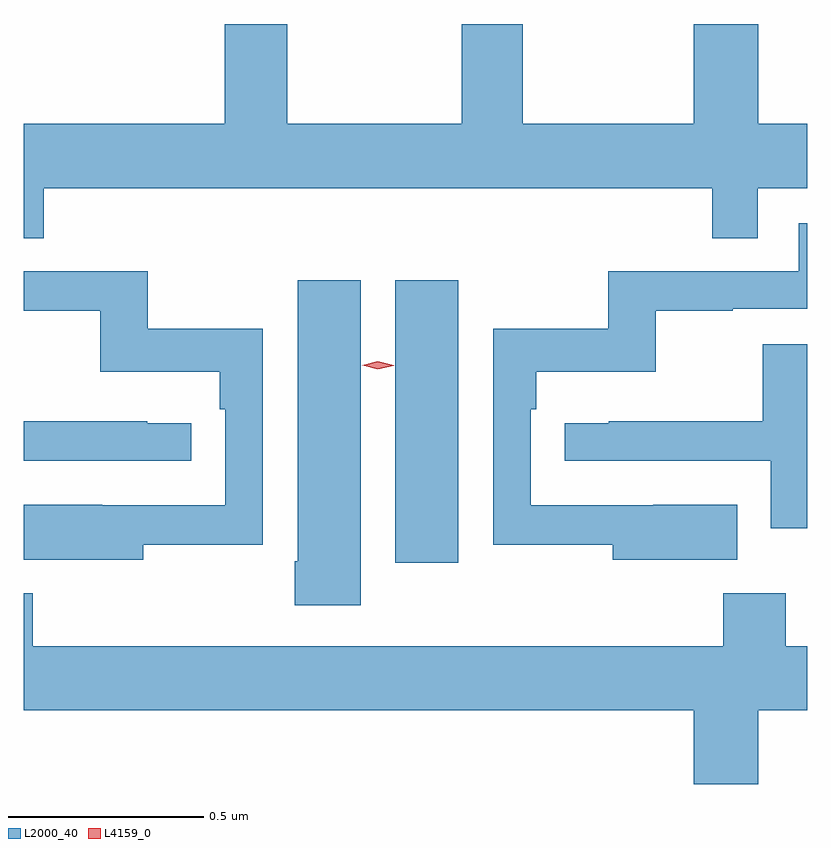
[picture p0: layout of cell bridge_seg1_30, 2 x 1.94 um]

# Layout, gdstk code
import gdstk
lib = gdstk.Library(unit=1e-6, precision=1e-09)
def R(c, l, rs):  # rectangles x0, y0, x1, y1
    for r in rs: c.add(gdstk.rectangle(r[:2], r[2:], *l))
def P(c, l, *ps):  # polygons
    for p in ps: c.add(gdstk.Polygon(p, *l))
L2000_40 = (2000, 40)
L4159_0 = (4159, 0)

bridge_seg1_30 = lib.new_cell('bridge_seg1_30')
R(bridge_seg1_30, L2000_40, [(1123.286,537.456,1123.447,538.177)])
P(bridge_seg1_30, L2000_40, [(1122.389,538.412),(1124.095,538.412),(1124.095,538.285),(1124.211,538.285),(1124.211,538.412),(1124.338,538.412),(1124.338,538.576),(1124.212,538.576),(1124.212,538.831),(1124.048,538.831),(1124.048,538.576),(1123.611,538.576),(1123.611,538.831),(1123.456,538.831),(1123.456,538.576),(1123.011,538.576),(1123.011,538.831),(1122.851,538.831),(1122.851,538.576),(1122.338,538.576),(1122.338,538.285),(1122.389,538.285)],
  [(1124.159,537.604),(1123.945,537.604),(1123.945,537.603),(1123.632,537.603),(1123.632,537.848),(1123.646,537.848),(1123.646,537.944),(1123.951,537.944),(1123.951,538.099),(1124.147,538.099),(1124.147,538.104),(1124.338,538.104),(1124.338,538.323),(1124.316,538.323),(1124.316,538.2),(1123.83,538.2),(1123.83,538.054),(1123.536,538.054),(1123.536,537.502),(1123.841,537.502),(1123.841,537.464),(1124.159,537.464)],
  [(1122.643,537.502),(1122.948,537.502),(1122.948,538.054),(1122.655,538.054),(1122.655,538.2),(1122.338,538.2),(1122.338,538.099),(1122.534,538.099),(1122.534,537.944),(1122.839,537.944),(1122.839,537.848),(1122.852,537.848),(1122.852,537.603),(1122.539,537.603),(1122.539,537.604),(1122.338,537.604),(1122.338,537.464),(1122.643,537.464)],
  [(1123.198,538.177),(1123.037,538.177),(1123.037,537.46),(1123.03,537.46),(1123.03,537.348),(1123.198,537.348)],
  [(1124.338,538.014),(1124.224,538.014),(1124.224,537.818),(1123.831,537.818),(1123.831,537.813),(1123.719,537.813),(1123.719,537.717),(1124.244,537.717),(1124.244,537.545),(1124.338,537.545)],
  [(1122.766,537.813),(1122.653,537.813),(1122.653,537.818),(1122.338,537.818),(1122.338,537.717),(1122.766,537.717)],
  [(1124.212,537.08),(1124.338,537.08),(1124.338,537.244),(1124.283,537.244),(1124.283,537.379),(1124.123,537.379),(1124.123,537.244),(1122.362,537.244),(1122.362,537.379),(1122.338,537.379),(1122.338,537.08),(1124.048,537.08),(1124.048,536.892),(1124.212,536.892)])
P(bridge_seg1_30, L4159_0, [(1123.242,537.95),(1123.202,537.96),(1123.202,537.96),(1123.202,537.96),(1123.242,537.97),(1123.282,537.96),(1123.282,537.96),(1123.282,537.959)])

lib.write_gds('bridge_seg1_30.gds')
